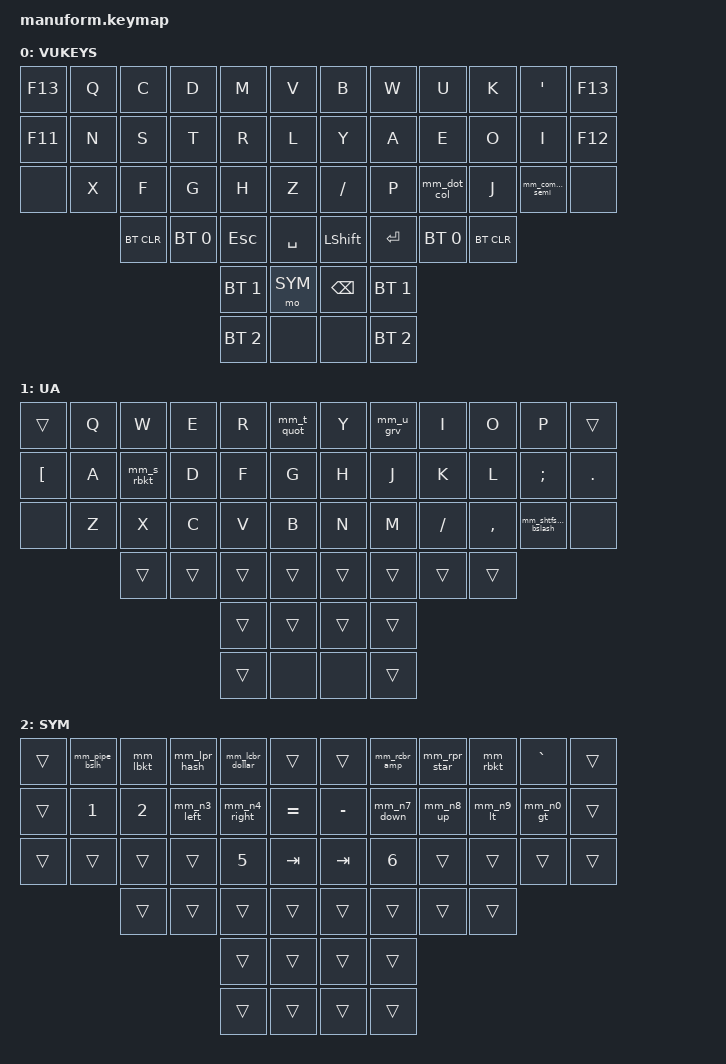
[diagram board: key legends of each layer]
#include <behaviors.dtsi>
#include <dt-bindings/zmk/keys.h>
#include <dt-bindings/zmk/bt.h>

#define TIMEOUT 120

#define VUKEYS 0
#define UA     1
#define SYM    2

#define BTCLR &bt BT_CLR
#define BT0 &bt BT_SEL 0
#define BT1 &bt BT_SEL 1
#define BT2 &bt BT_SEL 2

// Custom debounce-period to mitigate unwanted duplicate keypresses
&kscan0 {
   debounce-period = <12>;  //default 6ms
};

/ {
  behaviors {
    #include "modmorph.dtsi"
    #include "modtap.dtsi"
  };
  combos {
    #include "combos.dtsi"
  };
  macros {
    #include "macros.dtsi"
  };
  keymap {
    compatible = "zmk,keymap";
    VUKEYS {
      bindings = <
// ╭───────────┬───────────┬───────────┬───────────┬───────────┬───────────╮  ╭───────────┬───────────┬───────────┬───────────┬───────────┬───────────╮
      &kp F13     &kp Q       &kp C       &kp D       &kp M       &kp V          &kp B       &kp W       &kp U       &kp K       &kp SQT     &kp F13
// ├───────────┼───────────┼───────────┼───────────┼───────────┼───────────┤  ├───────────┼───────────┼───────────┼───────────┼───────────┼───────────┤
      &kp F11     &kp N       &kp S       &kp T       &kp R       &kp L          &kp Y       &kp A       &kp E       &kp O       &kp I       &kp F12
// ├───────────┼───────────┼───────────┼───────────┼───────────┼───────────┤  ├───────────┼───────────┼───────────┼───────────┼───────────┼───────────┤
      &none       &kp X       &kp F       &kp G       &kp H       &kp Z          &kp SLASH   &kp P       &mm_dot_col &kp J       &mm_comma_semi &none
// ╰───────────┴───────────┴───────────┼───────────┼───────────┼───────────┤  ├───────────┼───────────┼───────────┼───────────┴───────────┴───────────╯
                              BTCLR       BT0         &kp ESC     &kp SPC        &kp LSHIFT  &kp RET     BT0         BTCLR
//                         ╰───────────┴───────────┼───────────┼───────────┤  ├───────────┼───────────┼───────────┴───────────╯
                                                      BT1         &mo SYM         &kp BSPC   BT1
//                                                 ├─bot left──┴─top left──┤  ├─top right──┴─bot right┤
                                                      BT2         &none           &none      BT2
//                                                 ╰─bot right─┴─top right─╯  ╰─top left──┴──bot left─╯
      >;
    };
    UA {
      bindings = <
// ╭───────────┬───────────┬───────────┬───────────┬───────────┬───────────╮  ╭───────────┬───────────┬───────────┬───────────┬───────────┬───────────╮
      &trans      &kp Q       &kp W       &kp E       &kp R       &mm_t_quot     &kp Y       &mm_u_grv   &kp I       &kp O       &kp P       &trans
// ├───────────┼───────────┼───────────┼───────────┼───────────┼───────────┤  ├───────────┼───────────┼───────────┼───────────┼───────────┼───────────┤
      &kp LBKT    &kp A       &mm_s_rbkt  &kp D       &kp F       &kp G          &kp H       &kp J       &kp K       &kp L       &kp SEMI    &kp DOT
// ├───────────┼───────────┼───────────┼───────────┼───────────┼───────────┤  ├───────────┼───────────┼───────────┼───────────┼───────────┼───────────┤
      &none       &kp Z       &kp X       &kp C       &kp V       &kp B          &kp N       &kp M       &kp SLASH   &kp COMMA &mm_shtfslash_bslash &none
// ╰───────────┴───────────┴───────────┼───────────┼───────────┼───────────┤  ├───────────┼───────────┼───────────┼───────────┴───────────┴───────────╯
                              &trans       &trans     &trans      &trans         &trans      &trans      &trans      &trans
//                         ╰───────────┴───────────┼───────────┼───────────┤  ├───────────┼───────────┼───────────┴───────────╯
                                                      &trans      &trans         &trans      &trans
//                                                 ├─bot left──┴─top left──┤  ├─top right──┴─bot right┤
                                                      &trans      &none          &none       &trans
//                                                 ╰─bot right─┴─top right─╯  ╰─top left──┴──bot left─╯
      >;
    };
    SYM {
      bindings = <
// ╭───────────┬───────────┬───────────┬───────────┬───────────┬───────────╮  ╭───────────┬───────────┬───────────┬───────────┬───────────┬───────────╮
      &trans    &mm_pipe_bslh &mm_lbkt  &mm_lpr_hash &mm_lcbr_dollar &trans      &trans    &mm_rcbr_amp &mm_rpr_star &mm_rbkt   &kp GRAVE    &trans
// ├───────────┼───────────┼───────────┼───────────┼───────────┼───────────┤  ├───────────┼───────────┼───────────┼───────────┼───────────┼───────────┼
      &trans      &kp N1      &kp N2    &mm_n3_left &mm_n4_right  &kp EQUAL      &kp MINUS &mm_n7_down  &mm_n8_up    &mm_n9_lt  &mm_n0_gt    &trans
// ├───────────┼───────────┼───────────┼───────────┼───────────┼───────────┤  ├───────────┼───────────┼───────────┼───────────┼───────────┼───────────┤
      &trans      &trans      &trans      &trans      &kp N5      &kp TAB        &kp TAB     &kp N6      &trans      &trans      &trans      &trans
// ╰───────────┴───────────┴───────────┼───────────┼───────────┼───────────┤  ├───────────┼───────────┼───────────┼───────────┴───────────┴───────────╯
                              &trans       &trans     &trans      &trans         &trans      &trans      &trans      &trans
//                         ╰───────────┴───────────┼───────────┼───────────┤  ├───────────┼───────────┼───────────┴───────────╯
                                                      &trans      &trans         &trans      &trans
//                                                 ├─bot left──┴─top left──┤  ├─top right──┴─bot right┤
                                                      &trans      &trans         &trans      &trans
//                                                 ╰─bot right─┴─top right─╯  ╰─top left──┴──bot left─╯
      >;
    };
  };
};
